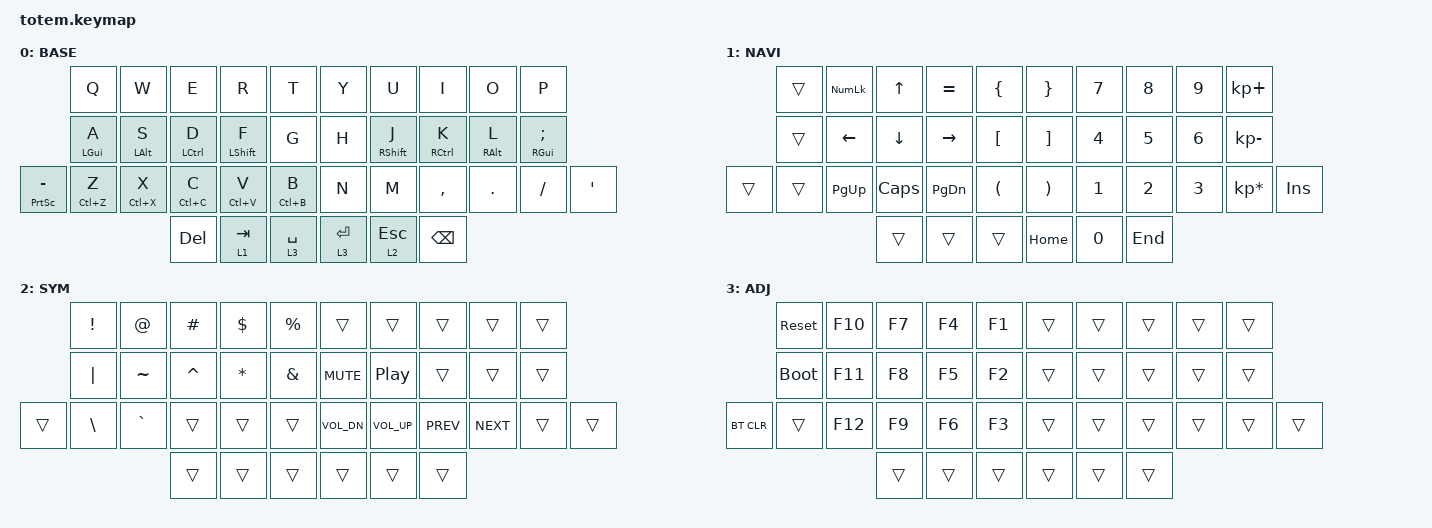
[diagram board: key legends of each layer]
//
//                                                        ▀▀▀▀▀     ▀▀▀▀▀          ▀▀█▀▀
//                                                        ▄▀▀▀▄  ▄  ▄▀▀▀▄  ▄  ▄▀▀▀▄  █  ▄▀▀▀▄
//                                                        █   █  █  █   █  █  █   █  █  █   █
//                                                         ▀▀▀   █   ▀▀▀   █   ▀▀▀   ▀   ▀▀▀
//                                                               █      ▄▄▄█▄▄▄    █   █  
//                                                               ▀      █  █  █     █▄█
//                                                             ▀▀▀▀▀    █  █  █      ▀
//                                                                      ▀  ▀  ▀
//
// ▄▄▄▄▄▄▄▄▄▄▄▄▄▄▄▄▄▄▄▄▄▄▄▄▄▄▄▄▄▄▄▄▄▄▄▄▄▄▄▄▄▄▄▄▄▄▄▄▄▄▄▄▄▄▄▄▄▄▄▄▄▄▄▄▄▄▄▄▄▄▄▄▄▄▄▄▄▄▄▄▄▄▄▄▄▄▄▄▄▄▄▄▄▄▄▄▄▄▄▄▄▄▄▄▄▄▄▄▄▄▄▄▄▄▄▄▄▄▄▄▄▄▄▄▄▄▄▄▄▄▄▄▄▄▄▄▄▄▄▄▄▄▄▄▄▄▄▄▄

#include <behaviors.dtsi>
#include <dt-bindings/zmk/bt.h>
#include <dt-bindings/zmk/keys.h>

#define BASE 0
#define NAV  1
#define SYM  2
#define ADJ  3
#define TVP1 4
#define TVP2 5

&mt {
    quick-tap-ms = <100>;
    global-quick-tap;
    flavor = "tap-preferred";
    tapping-term-ms = <170>;
};

/ {
    combos { compatible = "zmk,combos"; };

    keymap {
        compatible = "zmk,keymap";

        // ▄▄▄▄▄▄▄▄▄▄▄▄▄▄▄▄▄▄▄▄▄▄▄▄▄▄▄▄▄▄▄▄▄▄▄▄▄▄▄▄▄▄▄▄▄▄▄▄▄▄▄▄▄▄▄▄▄▄▄▄▄▄▄▄▄▄▄▄▄▄▄▄▄▄▄▄▄▄▄▄▄▄▄▄▄▄▄▄▄▄▄▄▄▄▄▄▄▄▄▄▄▄▄▄▄▄▄▄▄▄▄▄▄▄▄▄▄▄▄▄▄▄▄▄▄▄▄▄▄▄▄▄▄▄▄▄▄▄▄▄▄▄▄▄▄▄▄▄▄

        base_layer {
            // ┏━━━━━━━━━━━━━━━━━━━━━━━━━━━━━━━━━━━━━━━┓

            label = "BASE";

            // ┗━━━━━━━━━━━━━━━━━━━━━━━━━━━━━━━━━━━━━━━┛
            //             ┏━━━━━━━━━━━┳━━━━━━━━━━━┳━━━━━━━━━━━┳━━━━━━━━━━━┳━━━━━━━━━━━┓   ┏━━━━━━━━━━━┳━━━━━━━━━━━┳━━━━━━━━━━━┳━━━━━━━━━━━┳━━━━━━━━━━━┓
            //             ┃     Q     ┃     W     ┃     F     ┃     P     ┃     G     ┃   ┃     J     ┃     L     ┃     U     ┃     Y     ┃     ;     ┃
            //             ┣━━━━━━━━━━━╋━━━━━━━━━━━╋━━━━━━━━━━━╋━━━━━━━━━━━╋━━━━━━━━━━━┫   ┣━━━━━━━━━━━╋━━━━━━━━━━━╋━━━━━━━━━━━╋━━━━━━━━━━━╋━━━━━━━━━━━┫
            //             ┃     A     ┃     R     ┃     S     ┃     T     ┃     D     ┃   ┃     H     ┃     N     ┃     E     ┃     I     ┃     O     ┃
            // ┏━━━━━━━━━━━╋━━━━━━━━━━━╋━━━━━━━━━━━╋━━━━━━━━━━━╋━━━━━━━━━━━╋━━━━━━━━━━━┫   ┣━━━━━━━━━━━╋━━━━━━━━━━━╋━━━━━━━━━━━╋━━━━━━━━━━━╋━━━━━━━━━━━╋━━━━━━━━━━━┓
            // ┃     Q     ┃     Z     ┃     X     ┃     C     ┃     V     ┃     B     ┃   ┃     K     ┃     M     ┃     ,     ┃     .     ┃     /     ┃     \     ┃
            // ┗━━━━━━━━━━━┻━━━━━━━━━━━┻━━━━━━━━━━━╋━━━━━━━━━━━╋━━━━━━━━━━━╋━━━━━━━━━━━┫   ┣━━━━━━━━━━━╋━━━━━━━━━━━╋━━━━━━━━━━━╋━━━━━━━━━━━┻━━━━━━━━━━━┻━━━━━━━━━━━┛
            //                                     ┃    DEL    ┃    TAB    ┃    SPC    ┃   ┃   ENTER   ┃           ┃   BSPC    ┃
            //                                     ┗━━━━━━━━━━━┻━━━━━━━━━━━┻━━━━━━━━━━━┛   ┗━━━━━━━━━━━┻━━━━━━━━━━━┻━━━━━━━━━━━┛

            bindings = <
                       &kp Q        &kp W        &kp E        &kp R        &kp T          &kp Y        &kp U        &kp I        &kp O       &kp P
                       &mt LGUI A   &mt LALT S   &mt LCTRL D  &mt LSHFT F  &kp G          &kp H        &mt RSHFT J  &mt RCTRL K  &mt RALT L  &mt RGUI SEMICOLON
&mt PRINTSCREEN MINUS  &mt LC(Z) Z  &mt LC(X) X  &mt LC(C) C  &mt LC(V) V  &mt LC(B) B    &kp N        &kp M        &kp COMMA    &kp DOT     &kp FSLH            &kp SQT
                                                 &kp DEL      &lt 1 TAB    &lt 3 SPACE    &lt 3 ENTER  &lt 2 ESC    &kp BSPC
            >;
        };

        // ▄▄▄▄▄▄▄▄▄▄▄▄▄▄▄▄▄▄▄▄▄▄▄▄▄▄▄▄▄▄▄▄▄▄▄▄▄▄▄▄▄▄▄▄▄▄▄▄▄▄▄▄▄▄▄▄▄▄▄▄▄▄▄▄▄▄▄▄▄▄▄▄▄▄▄▄▄▄▄▄▄▄▄▄▄▄▄▄▄▄▄▄▄▄▄▄▄▄▄▄▄▄▄▄▄▄▄▄▄▄▄▄▄▄▄▄▄▄▄▄▄▄▄▄▄▄▄▄▄▄▄▄▄▄▄▄▄▄▄▄▄▄▄▄▄▄▄▄▄

        nav_layer {
            // ┏━━━━━━━━━━━━━━━━━━━━━━━━━━━━━━━━━━━━━━━┓

            label = "NAVI";

            // ┗━━━━━━━━━━━━━━━━━━━━━━━━━━━━━━━━━━━━━━━┛
            //             ┏━━━━━━━━━━━┳━━━━━━━━━━━┳━━━━━━━━━━━┳━━━━━━━━━━━┳━━━━━━━━━━━┓   ┏━━━━━━━━━━━┳━━━━━━━━━━━┳━━━━━━━━━━━┳━━━━━━━━━━━┳━━━━━━━━━━━┓
            //             ┃           ┃           ┃     UP    ┃           ┃     {     ┃   ┃     }     ┃     7     ┃     8     ┃     9     ┃     +     ┃
            //             ┣━━━━━━━━━━━╋━━━━━━━━━━━╋━━━━━━━━━━━╋━━━━━━━━━━━╋━━━━━━━━━━━┫   ┣━━━━━━━━━━━╋━━━━━━━━━━━╋━━━━━━━━━━━╋━━━━━━━━━━━╋━━━━━━━━━━━┫
            //             ┃   SHIFT   ┃   LEFT    ┃    DOWN   ┃   RIGHT   ┃     [     ┃   ┃     ]     ┃     4     ┃     5     ┃     6     ┃     -     ┃
            // ┏━━━━━━━━━━━╋━━━━━━━━━━━╋━━━━━━━━━━━╋━━━━━━━━━━━╋━━━━━━━━━━━╋━━━━━━━━━━━┫   ┣━━━━━━━━━━━╋━━━━━━━━━━━╋━━━━━━━━━━━╋━━━━━━━━━━━╋━━━━━━━━━━━╋━━━━━━━━━━━┓
            // ┃           ┃           ┃   P UP    ┃  C LOCK   ┃  P DOWN   ┃     (     ┃   ┃     )     ┃     1     ┃     2     ┃     3     ┃     *     ┃           ┃
            // ┗━━━━━━━━━━━┻━━━━━━━━━━━┻━━━━━━━━━━━╋━━━━━━━━━━━╋━━━━━━━━━━━╋━━━━━━━━━━━┫   ┣━━━━━━━━━━━╋━━━━━━━━━━━╋━━━━━━━━━━━╋━━━━━━━━━━━┻━━━━━━━━━━━┻━━━━━━━━━━━┛
            //                                     ┃           ┃    TAB    ┃    SPC    ┃   ┃    DEL    ┃     0     ┃           ┃
            //                                     ┗━━━━━━━━━━━┻━━━━━━━━━━━┻━━━━━━━━━━━┛   ┗━━━━━━━━━━━┻━━━━━━━━━━━┻━━━━━━━━━━━┛

            bindings = <
        &trans  &kp KP_NUMLOCK  &kp UP    &kp EQUAL  &kp LBRC    &kp RBRC  &kp N7        &kp N8        &kp N9        &kp KP_PLUS
        &trans  &kp LEFT        &kp DOWN  &kp RIGHT  &kp LBKT    &kp RBKT  &kp NUMBER_4  &kp N5        &kp NUMBER_6  &kp KP_MINUS
&trans  &trans  &kp PG_UP       &kp CAPS  &kp PG_DN  &kp LPAR    &kp RPAR  &kp NUMBER_1  &kp NUMBER_2  &kp NUMBER_3  &kp KP_MULTIPLY  &kp INS
                                &trans    &trans     &trans      &kp HOME  &kp NUMBER_0  &kp END
            >;
        };

        // ▄▄▄▄▄▄▄▄▄▄▄▄▄▄▄▄▄▄▄▄▄▄▄▄▄▄▄▄▄▄▄▄▄▄▄▄▄▄▄▄▄▄▄▄▄▄▄▄▄▄▄▄▄▄▄▄▄▄▄▄▄▄▄▄▄▄▄▄▄▄▄▄▄▄▄▄▄▄▄▄▄▄▄▄▄▄▄▄▄▄▄▄▄▄▄▄▄▄▄▄▄▄▄▄▄▄▄▄▄▄▄▄▄▄▄▄▄▄▄▄▄▄▄▄▄▄▄▄▄▄▄▄▄▄▄▄▄▄▄▄▄▄▄▄▄▄▄▄▄

        sim_layer {
            // ┏━━━━━━━━━━━━━━━━━━━━━━━━━━━━━━━━━━━━━━━┓

            label = "SYM";

            // ┗━━━━━━━━━━━━━━━━━━━━━━━━━━━━━━━━━━━━━━━┛
            //             ┏━━━━━━━━━━━┳━━━━━━━━━━━┳━━━━━━━━━━━┳━━━━━━━━━━━┳━━━━━━━━━━━┓   ┏━━━━━━━━━━━┳━━━━━━━━━━━┳━━━━━━━━━━━┳━━━━━━━━━━━┳━━━━━━━━━━━┓
            //             ┃     !     ┃     @     ┃     #     ┃     $     ┃     %     ┃   ┃     ˆ     ┃     &     ┃     Ü     ┃     '     ┃     "     ┃
            //             ┣━━━━━━━━━━━╋━━━━━━━━━━━╋━━━━━━━━━━━╋━━━━━━━━━━━╋━━━━━━━━━━━┫   ┣━━━━━━━━━━━╋━━━━━━━━━━━╋━━━━━━━━━━━╋━━━━━━━━━━━╋━━━━━━━━━━━┫
            //             ┃     Ä     ┃           ┃    SZ     ┃           ┃           ┃   ┃   MUTE    ┃   YEN     ┃   EURO    ┃  POUND    ┃     Ö     ┃
            // ┏━━━━━━━━━━━╋━━━━━━━━━━━╋━━━━━━━━━━━╋━━━━━━━━━━━╋━━━━━━━━━━━╋━━━━━━━━━━━┫   ┣━━━━━━━━━━━╋━━━━━━━━━━━╋━━━━━━━━━━━╋━━━━━━━━━━━╋━━━━━━━━━━━╋━━━━━━━━━━━┓
            // ┃           ┃  EMAIL1   ┃  EMAIL2   ┃           ┃           ┃           ┃   ┃   VOL-    ┃   VOL+    ┃   LAST    ┃   NEXT    ┃     \     ┃           ┃
            // ┗━━━━━━━━━━━┻━━━━━━━━━━━┻━━━━━━━━━━━╋━━━━━━━━━━━╋━━━━━━━━━━━╋━━━━━━━━━━━┫   ┣━━━━━━━━━━━╋━━━━━━━━━━━╋━━━━━━━━━━━╋━━━━━━━━━━━┻━━━━━━━━━━━┻━━━━━━━━━━━┛
            //                                     ┃           ┃    GIF    ┃    ADJ    ┃   ┃           ┃           ┃           ┃
            //                                     ┗━━━━━━━━━━━┻━━━━━━━━━━━┻━━━━━━━━━━━┛   ┗━━━━━━━━━━━┻━━━━━━━━━━━┻━━━━━━━━━━━┛

            bindings = <
        &kp EXCL       &kp AT     &kp HASH   &kp DLLR      &kp PRCNT    &trans        &trans            &trans      &trans      &trans
        &kp PIPE       &kp TILDE  &kp CARET  &kp ASTERISK  &kp AMPS     &kp C_MUTE    &kp C_PLAY_PAUSE  &trans      &trans      &trans
&trans  &kp BACKSLASH  &kp GRAVE  &trans     &trans        &trans       &kp C_VOL_DN  &kp C_VOL_UP      &kp C_PREV  &kp C_NEXT  &trans  &trans
                                  &trans     &trans        &trans       &trans        &trans            &trans
            >;
        };

        // ▄▄▄▄▄▄▄▄▄▄▄▄▄▄▄▄▄▄▄▄▄▄▄▄▄▄▄▄▄▄▄▄▄▄▄▄▄▄▄▄▄▄▄▄▄▄▄▄▄▄▄▄▄▄▄▄▄▄▄▄▄▄▄▄▄▄▄▄▄▄▄▄▄▄▄▄▄▄▄▄▄▄▄▄▄▄▄▄▄▄▄▄▄▄▄▄▄▄▄▄▄▄▄▄▄▄▄▄▄▄▄▄▄▄▄▄▄▄▄▄▄▄▄▄▄▄▄▄▄▄▄▄▄▄▄▄▄▄▄▄▄▄▄▄▄▄▄▄▄

        adjust_layer {
            // ┏━━━━━━━━━━━━━━━━━━━━━━━━━━━━━━━━━━━━━━━┓

            label = "ADJ";

            // ┗━━━━━━━━━━━━━━━━━━━━━━━━━━━━━━━━━━━━━━━┛
            //             ┏━━━━━━━━━━━┳━━━━━━━━━━━┳━━━━━━━━━━━┳━━━━━━━━━━━┳━━━━━━━━━━━┓   ┏━━━━━━━━━━━┳━━━━━━━━━━━┳━━━━━━━━━━━┳━━━━━━━━━━━┳━━━━━━━━━━━┓
            //             ┃   RESET   ┃ BT CLEAR  ┃  OUT TOG  ┃           ┃           ┃   ┃           ┃    F7     ┃    F8     ┃    F9     ┃    F12    ┃
            //             ┣━━━━━━━━━━━╋━━━━━━━━━━━╋━━━━━━━━━━━╋━━━━━━━━━━━╋━━━━━━━━━━━┫   ┣━━━━━━━━━━━╋━━━━━━━━━━━╋━━━━━━━━━━━╋━━━━━━━━━━━╋━━━━━━━━━━━┫
            //             ┃ BOOTLOAD  ┃ BT NEXT   ┃           ┃           ┃           ┃   ┃           ┃    F4     ┃    F5     ┃    F6     ┃    F11    ┃
            // ┏━━━━━━━━━━━╋━━━━━━━━━━━╋━━━━━━━━━━━╋━━━━━━━━━━━╋━━━━━━━━━━━╋━━━━━━━━━━━┫   ┣━━━━━━━━━━━╋━━━━━━━━━━━╋━━━━━━━━━━━╋━━━━━━━━━━━╋━━━━━━━━━━━╋━━━━━━━━━━━┓
            // ┃           ┃           ┃ BT PREV   ┃           ┃           ┃           ┃   ┃           ┃    F1     ┃    F2     ┃    F3     ┃    F10    ┃           ┃
            // ┗━━━━━━━━━━━┻━━━━━━━━━━━┻━━━━━━━━━━━╋━━━━━━━━━━━╋━━━━━━━━━━━╋━━━━━━━━━━━┫   ┣━━━━━━━━━━━╋━━━━━━━━━━━╋━━━━━━━━━━━╋━━━━━━━━━━━┻━━━━━━━━━━━┻━━━━━━━━━━━┛
            //                                     ┃           ┃           ┃           ┃   ┃           ┃           ┃           ┃
            //                                     ┗━━━━━━━━━━━┻━━━━━━━━━━━┻━━━━━━━━━━━┛   ┗━━━━━━━━━━━┻━━━━━━━━━━━┻━━━━━━━━━━━┛

            bindings = <
            &sys_reset   &kp F10  &kp F7  &kp F4  &kp F1    &trans  &trans  &trans  &trans  &trans
            &bootloader  &kp F11  &kp F8  &kp F5  &kp F2    &trans  &trans  &trans  &trans  &trans
&bt BT_CLR  &trans       &kp F12  &kp F9  &kp F6  &kp F3    &trans  &trans  &trans  &trans  &trans  &trans
                                  &trans  &trans  &trans    &trans  &trans  &trans
            >;
        };

        // ▄▄▄▄▄▄▄▄▄▄▄▄▄▄▄▄▄▄▄▄▄▄▄▄▄▄▄▄▄▄▄▄▄▄▄▄▄▄▄▄▄▄▄▄▄▄▄▄▄▄▄▄▄▄▄▄▄▄▄▄▄▄▄▄▄▄▄▄▄▄▄▄▄▄▄▄▄▄▄▄▄▄▄▄▄▄▄▄▄▄▄▄▄▄▄▄▄▄▄▄▄▄▄▄▄▄▄▄▄▄▄▄▄▄▄▄▄▄▄▄▄▄▄▄▄▄▄▄▄▄▄▄▄▄▄▄▄▄▄▄▄▄▄▄▄▄▄▄▄
        // ▄▄▄▄▄▄▄▄▄▄▄▄▄▄▄▄▄▄▄▄▄▄▄▄▄▄▄▄▄▄▄▄▄▄▄▄▄▄▄▄▄▄▄▄▄▄▄▄▄▄▄▄▄▄▄▄▄▄▄▄▄▄▄▄▄▄▄▄▄▄▄▄▄▄▄▄▄▄▄▄▄▄▄▄▄▄▄▄▄▄▄▄▄▄▄▄▄▄▄▄▄▄▄▄▄▄▄▄▄▄▄▄▄▄▄▄▄▄▄▄▄▄▄▄▄▄▄▄▄▄▄▄▄▄▄▄▄▄▄▄▄▄▄▄▄▄▄▄▄
    };
};
